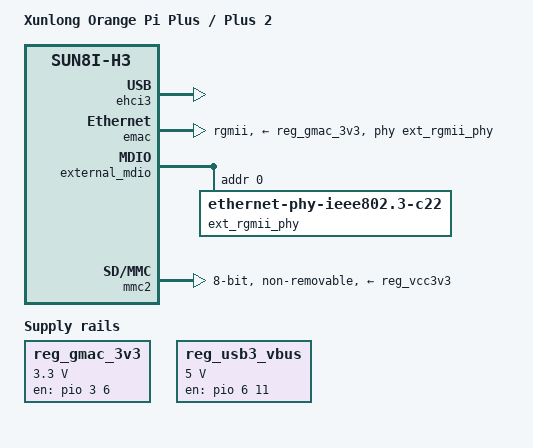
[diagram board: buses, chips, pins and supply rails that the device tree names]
/*
 * Copyright (C) 2015 Jens Kuske <jenskuske@gmail.com>
 *
 * This file is dual-licensed: you can use it either under the terms
 * of the GPL or the X11 license, at your option. Note that this dual
 * licensing only applies to this file, and not this project as a
 * whole.
 *
 *  a) This file is free software; you can redistribute it and/or
 *     modify it under the terms of the GNU General Public License as
 *     published by the Free Software Foundation; either version 2 of the
 *     License, or (at your option) any later version.
 *
 *     This file is distributed in the hope that it will be useful,
 *     but WITHOUT ANY WARRANTY; without even the implied warranty of
 *     MERCHANTABILITY or FITNESS FOR A PARTICULAR PURPOSE.  See the
 *     GNU General Public License for more details.
 *
 * Or, alternatively,
 *
 *  b) Permission is hereby granted, free of charge, to any person
 *     obtaining a copy of this software and associated documentation
 *     files (the "Software"), to deal in the Software without
 *     restriction, including without limitation the rights to use,
 *     copy, modify, merge, publish, distribute, sublicense, and/or
 *     sell copies of the Software, and to permit persons to whom the
 *     Software is furnished to do so, subject to the following
 *     conditions:
 *
 *     The above copyright notice and this permission notice shall be
 *     included in all copies or substantial portions of the Software.
 *
 *     THE SOFTWARE IS PROVIDED "AS IS", WITHOUT WARRANTY OF ANY KIND,
 *     EXPRESS OR IMPLIED, INCLUDING BUT NOT LIMITED TO THE WARRANTIES
 *     OF MERCHANTABILITY, FITNESS FOR A PARTICULAR PURPOSE AND
 *     NONINFRINGEMENT. IN NO EVENT SHALL THE AUTHORS OR COPYRIGHT
 *     HOLDERS BE LIABLE FOR ANY CLAIM, DAMAGES OR OTHER LIABILITY,
 *     WHETHER IN AN ACTION OF CONTRACT, TORT OR OTHERWISE, ARISING
 *     FROM, OUT OF OR IN CONNECTION WITH THE SOFTWARE OR THE USE OR
 *     OTHER DEALINGS IN THE SOFTWARE.
 */

/* The Orange Pi Plus is an extended version of the Orange Pi 2 */
#include "sun8i-h3-orangepi-2.dts"

/ {
	model = "Xunlong Orange Pi Plus / Plus 2";
	compatible = "xunlong,orangepi-plus", "allwinner,sun8i-h3";

	aliases {
		ethernet0 = &emac;
	};

	reg_gmac_3v3: gmac-3v3 {
		compatible = "regulator-fixed";
		regulator-name = "gmac-3v3";
		regulator-min-microvolt = <3300000>;
		regulator-max-microvolt = <3300000>;
		startup-delay-us = <100000>;
		enable-active-high;
		gpio = <&pio 3 6 GPIO_ACTIVE_HIGH>;
	};

	reg_usb3_vbus: usb3-vbus {
		compatible = "regulator-fixed";
		pinctrl-names = "default";
		pinctrl-0 = <&usb3_vbus_pin_a>;
		regulator-name = "usb3-vbus";
		regulator-min-microvolt = <5000000>;
		regulator-max-microvolt = <5000000>;
		regulator-boot-on;
		enable-active-high;
		gpio = <&pio 6 11 GPIO_ACTIVE_HIGH>;
	};
};

&ehci3 {
	status = "okay";
};

&emac {
	pinctrl-names = "default";
	pinctrl-0 = <&emac_rgmii_pins>;
	phy-supply = <&reg_gmac_3v3>;
	phy-handle = <&ext_rgmii_phy>;
	phy-mode = "rgmii";

	allwinner,leds-active-low;
	status = "okay";
};

&external_mdio {
	ext_rgmii_phy: ethernet-phy@1 {
		compatible = "ethernet-phy-ieee802.3-c22";
		reg = <0>;
	};
};

&mmc2 {
	pinctrl-names = "default";
	pinctrl-0 = <&mmc2_8bit_pins>;
	vmmc-supply = <&reg_vcc3v3>;
	bus-width = <8>;
	non-removable;
	cap-mmc-hw-reset;
	status = "okay";
};

&mmc2_8bit_pins {
	/* Increase drive strength for DDR modes */
	drive-strength = <40>;
	/* eMMC is missing pull-ups */
	bias-pull-up;
};

&pio {
	usb3_vbus_pin_a: usb3_vbus_pin {
		pins = "PG11";
		function = "gpio_out";
	};
};

&usbphy {
	usb3_vbus-supply = <&reg_usb3_vbus>;
};
